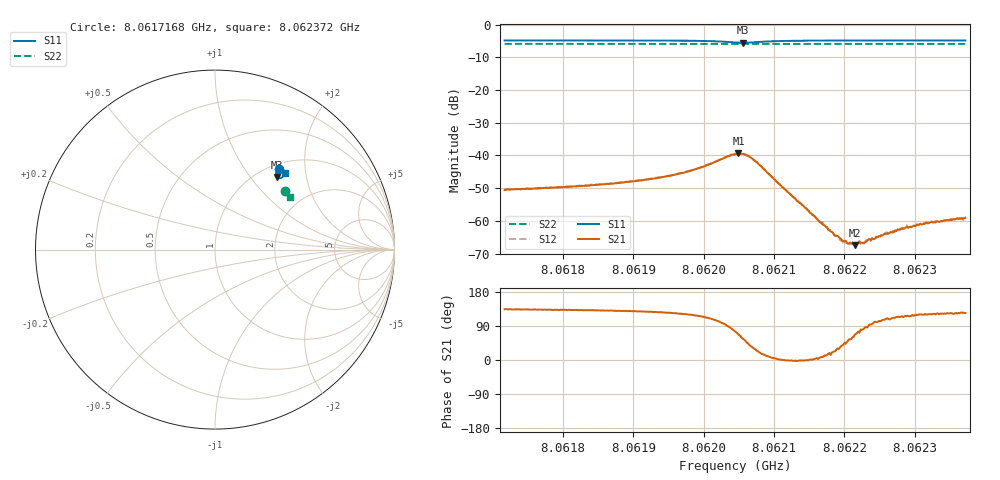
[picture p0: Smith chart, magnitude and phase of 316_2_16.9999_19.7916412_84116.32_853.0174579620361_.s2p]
#  HZ  S  RI  R  50.00
! Rohde & Schwarz Vector Network Analyzer
! Rohde-Schwarz,ZNB20-2Port,1311601062101988,3.16
! Created: UTC 3/20/2024, 11:06:13 PM
! freq[Hz]  re:S11  im:S11  re:S21  im:S21  re:S12  im:S12  re:S22  im:S22
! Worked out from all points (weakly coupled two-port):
!   401 points, 8.0617168 GHz to 8.062372 GHz, reference 50 ohm
!   highest |S21| = -39.39 dB at 8.0620493 GHz (marker M1); lowest = -67.3 dB at 8.0622147 GHz (marker M2)
!   lowest |S11| = -5.5 dB at 8.0620558 GHz (marker M3), VSWR 3.26, Z = 61 + j68.3 ohm
!   |S11| at or under -10 dB: nowhere
!   |S22| runs from -5.9 to -5.8 dB; largest |S21 - S12| = 0.0009
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8.06171676e9  0.3593 0.45  -0.00205 0.00213  -0.00196 0.00231  0.3922 0.327
8.06182651e9  0.367 0.4436  -0.00228 0.00256  -0.00216 0.0027  0.3964 0.3215
8.06187238e9  0.3703 0.4403  -0.00241 0.00285  -0.00226 0.00301  0.3981 0.3194
8.06193626e9  0.3755 0.434  -0.00271 0.00369  -0.00248 0.00391  0.4006 0.3162
8.06199196e9  0.3803 0.4228  -0.00282 0.0057  -0.00248 0.00592  0.4027 0.313
8.06204438e9  0.3613 0.3976  0.00257 0.0102  0.00327 0.0101  0.403 0.3097
8.06204929e9  0.3549 0.3979  0.00412 0.00991  0.00488 0.00973  0.403 0.3095
8.06205585e9  0.3466 0.4019  0.00593 0.00877  0.00655 0.00837  0.4027 0.3095
8.06206567e9  0.3394 0.4132  0.00745 0.00584  0.0077 0.00552  0.4032 0.3096
8.0620755e9  0.3396 0.4247  0.00724 0.00325  0.00737 0.00278  0.4036 0.3097
8.06215413e9  0.3681 0.4384  0.00125 2.42e-05  0.00123 -4.41e-05  0.4078 0.3063
8.06218362e9  0.3728 0.4365  0.000616 0.000238  0.000623 0.000177  0.409 0.3047
8.06219508e9  0.3743 0.4357  0.000423 0.000315  0.000402 0.000291  0.4093 0.304
8.06220655e9  0.3755 0.435  0.000265 0.000368  0.000283 0.000345  0.4097 0.3036
8.06221474e9  0.3764 0.4345  0.000169 0.000394  0.000174 0.000401  0.4101 0.3032
8.06222785e9  0.3778 0.4337  5.89e-05 0.000459  7.25e-05 0.000444  0.4107 0.3023
8.06223604e9  0.3786 0.4332  -3.34e-05 0.00052  1.84e-05 0.00053  0.4111 0.3019
8.06226388e9  0.3809 0.4316  -0.000191 0.000619  -0.000185 0.000676  0.4121 0.3005
8.06228518e9  0.3825 0.4302  -0.000325 0.000688  -0.00032 0.000714  0.4127 0.2993
8.06230648e9  0.3841 0.4289  -0.000447 0.000759  -0.000372 0.000791  0.4136 0.2984
8.06233268e9  0.3861 0.4274  -0.000533 0.000825  -0.000496 0.000854  0.4144 0.2971
8.062372e9  0.3887 0.4254  -0.00063 0.000925  -0.00056 0.000936  0.4158 0.2949
